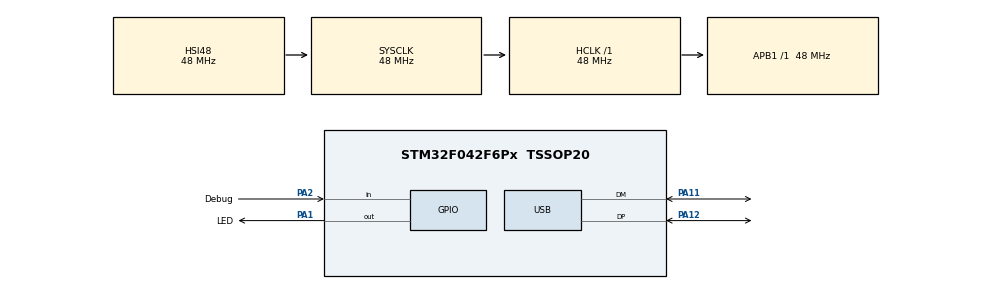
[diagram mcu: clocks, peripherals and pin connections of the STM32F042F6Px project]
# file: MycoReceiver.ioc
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Mcu.Family=STM32F0
Mcu.Name=STM32F042F6Px
Mcu.Package=TSSOP20
NVIC.USB_IRQn=true\:0\:0\:false\:false\:true\:false\:true\:true
PA1.GPIO_Label=LED
PA1.GPIO_ModeDefaultOutputPP=GPIO_MODE_OUTPUT_PP
PA1.GPIO_PuPd=GPIO_NOPULL
PA1.Signal=GPIO_Output
PA11.Mode=Device
PA11.Signal=USB_DM
PA12.Mode=Device
PA12.Signal=USB_DP
PA2.GPIO_Label=Debug
PA2.GPIO_PuPd=GPIO_NOPULL
PA2.Signal=GPIO_Input
ProjectManager.HeapSize=0x200
ProjectManager.StackSize=0x400
ProjectManager.TargetToolchain=STM32CubeIDE
RCC.AHBFreq_Value=48000000
RCC.APB1Freq_Value=48000000
RCC.APB1TimFreq_Value=48000000
RCC.HCLKFreq_Value=48000000
RCC.SYSCLKFreq_VALUE=48000000
RCC.SYSCLKSource=RCC_SYSCLKSOURCE_HSI48
USB_DEVICE.CLASS_NAME_FS=CDC
USB_DEVICE.VirtualMode=Cdc
USB_DEVICE.VirtualModeFS=Cdc_FS
VP_RCC_USB.Mode=CRS SYNC Source USB
VP_SYS_VS_PINREMAP.Mode=PINREMAP
VP_USB_DEVICE_VS_USB_DEVICE_CDC_FS.Mode=CDC_FS
board=custom

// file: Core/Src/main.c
/* USER CODE BEGIN Header */
/**
  ******************************************************************************
  * @file           : main.c
  * @brief          : Main program body
  ******************************************************************************
  */
/* USER CODE END Header */

#include "main.h"
#include "usb_device.h"

/* USER CODE BEGIN Includes */
#include "sx1262.h"
#include "usbd_cdc_if.h"
#include "myco_command.h"
#include <string.h>
/* USER CODE END Includes */

/* USER CODE BEGIN PD */

#define NODE_BLINK_ON_TIME_MS       80U
#define NODE_BLINK_OFF_TIME_MS      90U
#define STATUS_MESSAGE_TIME_MS    5000U
#define RADIO_POLL_TIME_MS          10U
#define BUTTON_DEBOUNCE_TIME_MS    30U
#define USB_STARTUP_DELAY_MS      1500U
#define USB_MESSAGE_SIZE           320U
#define LINK_ACK_TURNAROUND_MS      350U

#define PROTOCOL_VERSION             1U
#define FIRMWARE_VERSION       "0.9.0"
#define IWDG_KEY_ENABLE          0xCCCCU
#define IWDG_KEY_WRITE_ACCESS    0x5555U
#define IWDG_KEY_REFRESH         0xAAAAU
#define IWDG_PRESCALER_DIV256          6U
#define IWDG_RELOAD_12_8_SECONDS    1999U
#define IWDG_WINDOW_DISABLED        4095U
#define IWDG_UPDATE_TIMEOUT_MS        10U
#define IWDG_REFRESH_INTERVAL_MS    1000U
#define RESET_CAUSE_FLAGS (RCC_CSR_OBLRSTF | RCC_CSR_PINRSTF | \
                           RCC_CSR_PORRSTF | RCC_CSR_SFTRSTF | \
                           RCC_CSR_IWDGRSTF | RCC_CSR_WWDGRSTF | \
                           RCC_CSR_LPWRRSTF)

/* USER CODE END PD */

/* USER CODE BEGIN PV */

/* Retained for USB status reporting and debugger inspection. */
volatile uint32_t g_boot_reset_flags = 0U;

/* USER CODE END PV */

void SystemClock_Config(void);
static void MX_GPIO_Init(void);

/* USER CODE BEGIN PFP */
static void USB_Print(const char *message);
static char *Append_U32(char *destination, uint32_t value);
static char *Append_I32(char *destination, int32_t value);
static char *Append_Text(char *destination, const char *text);
static void USB_ReportStatus(uint32_t uptime_ms,
                             GPIO_PinState button_state,
                             SX1262Status radio_init_status,
                             uint8_t radio_status);
static void USB_ReportRadioInit(SX1262Status init_status,
                                uint8_t radio_status);
static void USB_ReportIdentity(void);
static void USB_ReportPacket(const SX1262Packet *packet,
                             uint32_t sequence);
static uint8_t Packet_GetNodeId(const SX1262Packet *packet,
                                uint32_t *node_id);
static uint8_t Packet_GetNetworkCheck(const SX1262Packet *packet,
                                      uint32_t *node_id,
                                      uint32_t *transmit_sequence);
/* USER CODE END PFP */

/* USER CODE BEGIN 0 */

static uint8_t IndependentWatchdog_Start(void)
{
    uint32_t started;

    DBGMCU->APB1FZ |= DBGMCU_APB1_FZ_DBG_IWDG_STOP;

    IWDG->KR = IWDG_KEY_ENABLE;
    IWDG->KR = IWDG_KEY_WRITE_ACCESS;
    IWDG->PR = IWDG_PRESCALER_DIV256;
    IWDG->RLR = IWDG_RELOAD_12_8_SECONDS;
    IWDG->WINR = IWDG_WINDOW_DISABLED;

    started = HAL_GetTick();
    while ((IWDG->SR & (IWDG_SR_PVU | IWDG_SR_RVU | IWDG_SR_WVU)) != 0U)
    {
        if ((HAL_GetTick() - started) >= IWDG_UPDATE_TIMEOUT_MS)
        {
            return 0U;
        }
    }

    IWDG->KR = IWDG_KEY_REFRESH;
    return 1U;
}

static void IndependentWatchdog_Refresh(void)
{
    IWDG->KR = IWDG_KEY_REFRESH;
}

/**
  * @brief Send a null-terminated string through USB CDC.
  *
  * This waits briefly if the USB transmit endpoint is busy.
  */
static void USB_Print(const char *message)
{
    uint32_t timeout_start;
    uint16_t length;

    if (message == NULL)
    {
        return;
    }

    length = (uint16_t)strlen(message);
    timeout_start = HAL_GetTick();

    while (CDC_Transmit_FS((uint8_t *)message, length) == USBD_BUSY)
    {
        if ((HAL_GetTick() - timeout_start) >= 100U)
        {
            /*
             * Give up after 100 ms rather than blocking
             * the receiver indefinitely.
             */
            return;
        }
    }
}

/**
  * @brief Append an unsigned 32-bit decimal value without pulling printf into
  *        this 32 KB target.
  * @retval Pointer to the byte immediately after the appended digits.
  */
static char *Append_U32(char *destination, uint32_t value)
{
    char reversed_digits[10];
    uint8_t digit_count = 0U;

    do
    {
        reversed_digits[digit_count] =
            (char)('0' + (value % 10U));
        digit_count++;
        value /= 10U;
    }
    while (value != 0U);

    while (digit_count != 0U)
    {
        digit_count--;
        *destination = reversed_digits[digit_count];
        destination++;
    }

    return destination;
}

static char *Append_I32(char *destination, int32_t value)
{
    uint32_t magnitude;

    if (value < 0)
    {
        *destination = '-';
        destination++;
        magnitude = (uint32_t)(-value);
    }
    else
    {
        magnitude = (uint32_t)value;
    }

    return Append_U32(destination, magnitude);
}

static char *Append_Text(char *destination, const char *text)
{
    size_t length = strlen(text);
    memcpy(destination, text, length);
    return destination + length;
}

static void USB_ReportIdentity(void)
{
    USB_Print(
        "{\"v\":1,\"type\":\"hello\","
        "\"device\":\"mycologger-receiver\","
        "\"fw\":\"" FIRMWARE_VERSION "\","
        "\"transport\":\"usb-cdc-acm\"}\n");
}

/**
  * @brief Emit one machine-readable receiver status record.
  *
  * Each USB record is one UTF-8 JSON object terminated by LF. This is
  * intentionally simple to consume through a CDC/ACM serial port on Windows,
  * Linux, macOS, or a Raspberry Pi.
  */
static void USB_ReportStatus(uint32_t uptime_ms,
                             GPIO_PinState button_state,
                             SX1262Status radio_init_status,
                             uint8_t radio_status)
{
    char message[USB_MESSAGE_SIZE];
    char *cursor = message;
    static const char prefix[] =
        "{\"v\":1,\"type\":\"status\",\"uptime_ms\":";
    static const char firmware_field[] =
        ",\"fw\":\"" FIRMWARE_VERSION "\"";
    static const char busy_field[] = ",\"radio_busy\":";
    static const char button_field[] = ",\"button_pressed\":";
    static const char radio_state_field[] = ",\"radio_state\":\"";
    const char *boolean_text;
    size_t text_length;

    memcpy(cursor, prefix, sizeof(prefix) - 1U);
    cursor += sizeof(prefix) - 1U;
    cursor = Append_U32(cursor, uptime_ms);

    memcpy(cursor, firmware_field, sizeof(firmware_field) - 1U);
    cursor += sizeof(firmware_field) - 1U;

    memcpy(cursor, busy_field, sizeof(busy_field) - 1U);
    cursor += sizeof(busy_field) - 1U;
    boolean_text =
        SX1262_IsBusy() ? "true" : "false";
    text_length = strlen(boolean_text);
    memcpy(cursor, boolean_text, text_length);
    cursor += text_length;

    memcpy(cursor, button_field, sizeof(button_field) - 1U);
    cursor += sizeof(button_field) - 1U;
    boolean_text =
        (button_state == GPIO_PIN_RESET) ? "true" : "false";
    text_length = strlen(boolean_text);
    memcpy(cursor, boolean_text, text_length);
    cursor += text_length;

    memcpy(cursor, radio_state_field, sizeof(radio_state_field) - 1U);
    cursor += sizeof(radio_state_field) - 1U;

    if (radio_init_status == SX1262_STATUS_OK)
    {
        cursor = Append_Text(cursor, "rx\"");
    }
    else
    {
        cursor = Append_Text(cursor, "error\",\"radio_error_code\":");
        cursor = Append_U32(cursor, (uint32_t)radio_init_status);
        cursor = Append_Text(cursor, ",\"radio_status_raw\":");
        cursor = Append_U32(cursor, radio_status);
    }

    cursor = Append_Text(cursor, ",\"reset_flags\":");
    cursor = Append_U32(cursor, g_boot_reset_flags);

    *cursor = '}';
    cursor++;
    *cursor = '\n';
    cursor++;
    *cursor = '\0';

    USB_Print(message);
}

static void USB_ReportRadioInit(SX1262Status init_status,
                                uint8_t radio_status)
{
    char message[USB_MESSAGE_SIZE];
    char *cursor = message;

    if (init_status == SX1262_STATUS_OK)
    {
        USB_Print(
            "{\"v\":1,\"type\":\"radio\",\"state\":\"rx\","
            "\"model\":\"sx1262\",\"frequency_hz\":915000000,"
            "\"modulation\":\"lora\",\"sf\":7,\"bandwidth_hz\":125000,"
            "\"coding_rate\":\"4/5\",\"sync_word\":\"private\","
            "\"tcxo_v\":\"1.8\"}\n");
        return;
    }

    cursor = Append_Text(
        cursor,
        "{\"v\":1,\"type\":\"radio\",\"state\":\"error\",\"code\":");
    cursor = Append_U32(cursor, (uint32_t)init_status);
    cursor = Append_Text(cursor, ",\"status_raw\":");
    cursor = Append_U32(cursor, radio_status);
    cursor = Append_Text(cursor, "}\n");
    *cursor = '\0';
    USB_Print(message);
}

static void USB_ReportPacket(const SX1262Packet *packet,
                             uint32_t sequence)
{
    static const char hex_digits[] = "0123456789abcdef";
    char message[USB_MESSAGE_SIZE];
    char *cursor = message;
    uint8_t index;

    cursor = Append_Text(cursor, "{\"v\":1,\"type\":\"packet\",\"seq\":");
    cursor = Append_U32(cursor, sequence);
    cursor = Append_Text(cursor, ",\"length\":");
    cursor = Append_U32(cursor, packet->length);
    cursor = Append_Text(cursor, ",\"rssi_dbm_x2\":");
    cursor = Append_I32(cursor, packet->rssi_dbm_x2);
    cursor = Append_Text(cursor, ",\"snr_db_quarters\":");
    cursor = Append_I32(cursor, packet->snr_db_quarters);
    cursor = Append_Text(cursor, ",\"payload_hex\":\"");

    for (index = 0U; index < packet->length; index++)
    {
        *cursor = hex_digits[packet->payload[index] >> 4];
        cursor++;
        *cursor = hex_digits[packet->payload[index] & 0x0FU];
        cursor++;
    }

    cursor = Append_Text(cursor, "\"}\n");
    *cursor = '\0';
    USB_Print(message);
}

static uint8_t Packet_GetNodeId(const SX1262Packet *packet,
                                uint32_t *node_id)
{
    if ((packet == NULL) || (node_id == NULL) ||
        (packet->length < 10U) ||
        (packet->payload[0] != 'M') ||
        (packet->payload[1] != 'Y') ||
        (packet->payload[2] != 'C') ||
        (packet->payload[3] != 'O') ||
        (packet->payload[4] != PROTOCOL_VERSION))
    {
        return 0U;
    }

    *node_id = ((uint32_t)packet->payload[6] << 24) |
               ((uint32_t)packet->payload[7] << 16) |
               ((uint32_t)packet->payload[8] << 8) |
               (uint32_t)packet->payload[9];
    return 1U;
}

static uint8_t Packet_GetNetworkCheck(const SX1262Packet *packet,
                                      uint32_t *node_id,
                                      uint32_t *transmit_sequence)
{
    if ((packet == NULL) || (node_id == NULL) ||
        (transmit_sequence == NULL) || (packet->length < 14U) ||
        (Packet_GetNodeId(packet, node_id) == 0U))
    {
        return 0U;
    }

    if (packet->payload[5] == 3U)
    {
        if (packet->length != MYCO_LINK_ACK_PACKET_SIZE)
        {
            return 0U;
        }
    }
    else if ((packet->payload[5] != 2U) ||
             (packet->length < 19U) ||
             ((packet->payload[18] & 0x08U) == 0U))
    {
        return 0U;
    }

    *transmit_sequence =
        ((uint32_t)packet->payload[10] << 24) |
        ((uint32_t)packet->payload[11] << 16) |
        ((uint32_t)packet->payload[12] << 8) |
        (uint32_t)packet->payload[13];
    return 1U;
}

/* USER CODE END 0 */

int main(void)
{

    /* MCU Configuration------------------------------------------------------*/

    /*
     * Reset all peripherals, initialize the Flash interface,
     * and initialize SysTick.
     */
    HAL_Init();

    /* USER CODE BEGIN Init */

    g_boot_reset_flags = RCC->CSR & RESET_CAUSE_FLAGS;
    RCC->CSR |= RCC_CSR_RMVF;

    /* USER CODE END Init */

    /* Configure the system clock */
    SystemClock_Config();

    /* Initialize all configured peripherals */
    MX_GPIO_Init();
    if (IndependentWatchdog_Start() == 0U)
    {
        Error_Handler();
    }
    SX1262_BusInit();
    MX_USB_DEVICE_Init();

    /* USER CODE BEGIN 2 */

    uint32_t now;

    uint32_t led_timer = HAL_GetTick();
    uint32_t led_blinks_remaining = 0U;
    uint8_t led_on = 0U;
    uint32_t packet_node_id = 0U;
    uint32_t watchdog_refresh_timer = HAL_GetTick();

    /*
     * USB heartbeat timing.
     */
    uint32_t status_timer = HAL_GetTick();
    uint32_t radio_poll_timer = HAL_GetTick();
    uint32_t packet_sequence = 0U;
    uint8_t radio_status = 0U;
    SX1262Packet radio_packet;
    SX1262Event radio_event;
    SX1262TxEvent radio_tx_event;
    MycoDownlinkCommand downlink_command;
    uint8_t downlink_packet[MYCO_CONFIG_PACKET_SIZE];
    uint8_t link_ack_packet[MYCO_LINK_ACK_PACKET_SIZE];
    uint8_t link_ack_pending = 0U;
    uint32_t link_ack_node_id = 0U;
    uint32_t link_ack_sequence = 0U;
    uint32_t link_ack_queued_tick = 0U;
    SX1262Status radio_init_status =
        SX1262_StartReceiver(&radio_status);

    /*
     * Button debounce state.
     *
     * The button connects PA2 to ground:
     * released = GPIO_PIN_SET
     * pressed  = GPIO_PIN_RESET
     */
    GPIO_PinState raw_button_state =
        HAL_GPIO_ReadPin(Debug_GPIO_Port, Debug_Pin);

    GPIO_PinState previous_raw_button_state = raw_button_state;
    GPIO_PinState debounced_button_state = raw_button_state;

    uint32_t button_debounce_timer = HAL_GetTick();

    /*
     * Give Windows or Linux time to enumerate the CDC device
     * before transmitting the first message.
     */
    HAL_Delay(USB_STARTUP_DELAY_MS);

    USB_ReportIdentity();

    USB_ReportRadioInit(radio_init_status, radio_status);

    /*
     * Start the five-second status interval after the
     * startup message is transmitted.
     */
    status_timer = HAL_GetTick();
    radio_poll_timer = HAL_GetTick();
    led_timer = HAL_GetTick();

    /* USER CODE END 2 */

    /* Infinite loop */
    /* USER CODE BEGIN WHILE */

    while (1)
    {
        now = HAL_GetTick();

        if ((now - watchdog_refresh_timer) >= IWDG_REFRESH_INTERVAL_MS)
        {
            IndependentWatchdog_Refresh();
            watchdog_refresh_timer = now;
        }

        if (MycoCommand_TakeInfoRequest())
        {
            USB_ReportIdentity();
        }

        if ((radio_init_status == SX1262_STATUS_OK) &&
            ((now - radio_poll_timer) >= RADIO_POLL_TIME_MS))
        {
            radio_poll_timer = now;
            if (SX1262_IsTransmitting())
            {
                radio_tx_event = SX1262_PollTransmit();
                if (radio_tx_event == SX1262_TX_EVENT_BUS_ERROR)
                {
                    USB_Print(
                        "{\"v\":1,\"type\":\"radio_error\","
                        "\"error\":\"downlink_bus\"}\n");
                }
                else if (radio_tx_event == SX1262_TX_EVENT_TIMEOUT)
                {
                    USB_Print(
                        "{\"v\":1,\"type\":\"radio_error\","
                        "\"error\":\"downlink_timeout\"}\n");
                }
                radio_event = SX1262_EVENT_NONE;
            }
            else
            {
                radio_event = SX1262_Poll(&radio_packet);
            }

            if (radio_event == SX1262_EVENT_PACKET)
            {
                uint8_t is_network_check;
                packet_sequence++;
                is_network_check =
                    Packet_GetNetworkCheck(&radio_packet,
                                           &link_ack_node_id,
                                           &link_ack_sequence);
                /* Forward link checks too. The host can return an already
                   queued config command before the 350 ms radio turnaround. */
                USB_ReportPacket(&radio_packet, packet_sequence);
                if (Packet_GetNodeId(&radio_packet, &packet_node_id) != 0U)
                {
                    /* Restart the indication with the newest packet's node. */
                    led_blinks_remaining = packet_node_id;
                    led_on = (led_blinks_remaining != 0U) ? 1U : 0U;
                    led_timer = now;
                    HAL_GPIO_WritePin(
                        LED_GPIO_Port,
                        LED_Pin,
                        (led_on != 0U) ? GPIO_PIN_SET : GPIO_PIN_RESET);
                }
                if (is_network_check != 0U)
                {
                    link_ack_pending = 1U;
                    link_ack_queued_tick = now;
                }
            }
            else if (radio_event == SX1262_EVENT_CRC_ERROR)
            {
                USB_Print(
                    "{\"v\":1,\"type\":\"radio_error\","
                    "\"error\":\"crc\"}\n");
            }
            else if (radio_event == SX1262_EVENT_HEADER_ERROR)
            {
                USB_Print(
                    "{\"v\":1,\"type\":\"radio_error\","
                    "\"error\":\"header\"}\n");
            }
            else if (radio_event == SX1262_EVENT_TIMEOUT)
            {
                USB_Print(
                    "{\"v\":1,\"type\":\"radio_error\","
                    "\"error\":\"timeout\"}\n");
            }
            else if (radio_event == SX1262_EVENT_BUS_ERROR)
            {
                USB_Print(
                    "{\"v\":1,\"type\":\"radio_error\","
                    "\"error\":\"bus\"}\n");
            }
        }

        if ((radio_init_status == SX1262_STATUS_OK) &&
            !SX1262_IsTransmitting() && (link_ack_pending != 0U) &&
            ((now - link_ack_queued_tick) >= LINK_ACK_TURNAROUND_MS))
        {
            if (MycoCommand_TakeForNode(link_ack_node_id,
                                       &downlink_command))
            {
                /* A real queued configuration also confirms the network. */
                MycoCommand_BuildPacket(&downlink_command, downlink_packet);
                if (SX1262_StartTransmit(downlink_packet,
                                         sizeof(downlink_packet)) ==
                    SX1262_STATUS_OK)
                {
                    link_ack_pending = 0U;
                }
            }
            else
            {
                MycoCommand_BuildLinkAck(link_ack_node_id,
                                         link_ack_sequence,
                                         link_ack_packet);
                if (SX1262_StartTransmit(link_ack_packet,
                                         sizeof(link_ack_packet)) ==
                    SX1262_STATUS_OK)
                {
                    link_ack_pending = 0U;
                }
            }
        }
        else if ((radio_init_status == SX1262_STATUS_OK) &&
                 !SX1262_IsTransmitting() &&
                 (link_ack_pending == 0U) &&
                 MycoCommand_Take(&downlink_command))
        {
            MycoCommand_BuildPacket(&downlink_command, downlink_packet);
            if (SX1262_StartTransmit(downlink_packet,
                                     sizeof(downlink_packet)) !=
                SX1262_STATUS_OK)
            {
                USB_Print(
                    "{\"v\":1,\"type\":\"radio_error\","
                    "\"error\":\"downlink_start\"}\n");
            }
        }

        /*
         * Read the button's current raw electrical state.
         */
        raw_button_state =
            HAL_GPIO_ReadPin(Debug_GPIO_Port, Debug_Pin);

        /*
         * Restart the debounce timer whenever the raw
         * button reading changes.
         */
        if (raw_button_state != previous_raw_button_state)
        {
            previous_raw_button_state = raw_button_state;
            button_debounce_timer = now;
        }

        /*
         * Accept a new button state only after it has
         * remained unchanged for the debounce interval.
         */
        if (((now - button_debounce_timer) >=
             BUTTON_DEBOUNCE_TIME_MS) &&
            (raw_button_state != debounced_button_state))
        {
            debounced_button_state = raw_button_state;

            /*
             * The button is active-low, so RESET means pressed.
             * This runs once when a new press is detected.
             */
            if (debounced_button_state == GPIO_PIN_RESET)
            {
                USB_Print(
                    "{\"v\":1,\"type\":\"button\","
                    "\"pressed\":true}\n");
            }
            else
            {
                USB_Print(
                    "{\"v\":1,\"type\":\"button\","
                    "\"pressed\":false}\n");
            }
        }

        /*
         * Send a status record over USB every five seconds. This also means a
         * host which opens the port after startup will quickly receive state.
         */
        if ((now - status_timer) >= STATUS_MESSAGE_TIME_MS)
        {
            status_timer = now;
            USB_ReportStatus(now,
                             debounced_button_state,
                             radio_init_status,
                             radio_status);
        }

        /* Quick, nonblocking blink count equals the received packet's node. */
        if ((led_on != 0U) &&
            ((now - led_timer) >= NODE_BLINK_ON_TIME_MS))
        {
            HAL_GPIO_WritePin(LED_GPIO_Port, LED_Pin, GPIO_PIN_RESET);
            led_on = 0U;
            led_timer = now;
            if (led_blinks_remaining != 0U)
            {
                led_blinks_remaining--;
            }
        }
        else if ((led_on == 0U) && (led_blinks_remaining != 0U) &&
                 ((now - led_timer) >= NODE_BLINK_OFF_TIME_MS))
        {
            HAL_GPIO_WritePin(LED_GPIO_Port, LED_Pin, GPIO_PIN_SET);
            led_on = 1U;
            led_timer = now;
        }
    }

    /* USER CODE END WHILE */

}

void SystemClock_Config(void)
{
    RCC_OscInitTypeDef RCC_OscInitStruct = {0};
    RCC_ClkInitTypeDef RCC_ClkInitStruct = {0};
    RCC_PeriphCLKInitTypeDef PeriphClkInit = {0};
    RCC_CRSInitTypeDef RCC_CRSInitStruct = {0};

    /*
     * Use the internal 48 MHz oscillator.
     */
    RCC_OscInitStruct.OscillatorType =
        RCC_OSCILLATORTYPE_HSI48;

    RCC_OscInitStruct.HSI48State = RCC_HSI48_ON;
    RCC_OscInitStruct.PLL.PLLState = RCC_PLL_NONE;

    if (HAL_RCC_OscConfig(&RCC_OscInitStruct) != HAL_OK)
    {
        Error_Handler();
    }

    /*
     * Run the CPU, AHB, and APB1 at 48 MHz.
     */
    RCC_ClkInitStruct.ClockType =
        RCC_CLOCKTYPE_HCLK |
        RCC_CLOCKTYPE_SYSCLK |
        RCC_CLOCKTYPE_PCLK1;

    RCC_ClkInitStruct.SYSCLKSource =
        RCC_SYSCLKSOURCE_HSI48;

    RCC_ClkInitStruct.AHBCLKDivider =
        RCC_SYSCLK_DIV1;

    RCC_ClkInitStruct.APB1CLKDivider =
        RCC_HCLK_DIV1;

    if (HAL_RCC_ClockConfig(
            &RCC_ClkInitStruct,
            FLASH_LATENCY_1) != HAL_OK)
    {
        Error_Handler();
    }

    /*
     * Use HSI48 as the USB clock source.
     */
    PeriphClkInit.PeriphClockSelection =
        RCC_PERIPHCLK_USB;

    PeriphClkInit.UsbClockSelection =
        RCC_USBCLKSOURCE_HSI48;

    if (HAL_RCCEx_PeriphCLKConfig(&PeriphClkInit) != HAL_OK)
    {
        Error_Handler();
    }

    /*
     * Enable the Clock Recovery System.
     */
    __HAL_RCC_CRS_CLK_ENABLE();

    RCC_CRSInitStruct.Prescaler =
        RCC_CRS_SYNC_DIV1;

    RCC_CRSInitStruct.Source =
        RCC_CRS_SYNC_SOURCE_USB;

    RCC_CRSInitStruct.Polarity =
        RCC_CRS_SYNC_POLARITY_RISING;

    RCC_CRSInitStruct.ReloadValue =
        __HAL_RCC_CRS_RELOADVALUE_CALCULATE(
            48000000U,
            1000U);

    RCC_CRSInitStruct.ErrorLimitValue = 34U;
    RCC_CRSInitStruct.HSI48CalibrationValue = 32U;

    HAL_RCCEx_CRSConfig(&RCC_CRSInitStruct);
}

static void MX_GPIO_Init(void)
{
    GPIO_InitTypeDef GPIO_InitStruct = {0};

    /* GPIO Ports Clock Enable */
    __HAL_RCC_GPIOA_CLK_ENABLE();

    /*
     * Start with the LED off.
     */
    HAL_GPIO_WritePin(
        LED_GPIO_Port,
        LED_Pin,
        GPIO_PIN_RESET);

    /*
     * PA1: debug LED output.
     * HIGH turns the LED on.
     */
    GPIO_InitStruct.Pin = LED_Pin;
    GPIO_InitStruct.Mode = GPIO_MODE_OUTPUT_PP;
    GPIO_InitStruct.Pull = GPIO_NOPULL;
    GPIO_InitStruct.Speed = GPIO_SPEED_FREQ_LOW;

    HAL_GPIO_Init(
        LED_GPIO_Port,
        &GPIO_InitStruct);

    /*
     * PA2: debug button input.
     *
     * The button connects PA2 to ground.
     * Use the internal pull-up so the pin does not float.
     */
    GPIO_InitStruct.Pin = Debug_Pin;
    GPIO_InitStruct.Mode = GPIO_MODE_INPUT;
    GPIO_InitStruct.Pull = GPIO_PULLUP;

    HAL_GPIO_Init(
        Debug_GPIO_Port,
        &GPIO_InitStruct);

}

void Error_Handler(void)
{
    __disable_irq();
    while (1)
    {
    }
}

#ifdef USE_FULL_ASSERT

/**
  * @brief Reports the source file and line number where
  *        an assert_param error occurred.
  * @param file Pointer to the source file name
  * @param line Source line number
  * @retval None
  */
void assert_failed(uint8_t *file, uint32_t line)
{
    /* USER CODE BEGIN 6 */

    (void)file;
    (void)line;

    /* USER CODE END 6 */
}

#endif /* USE_FULL_ASSERT */
